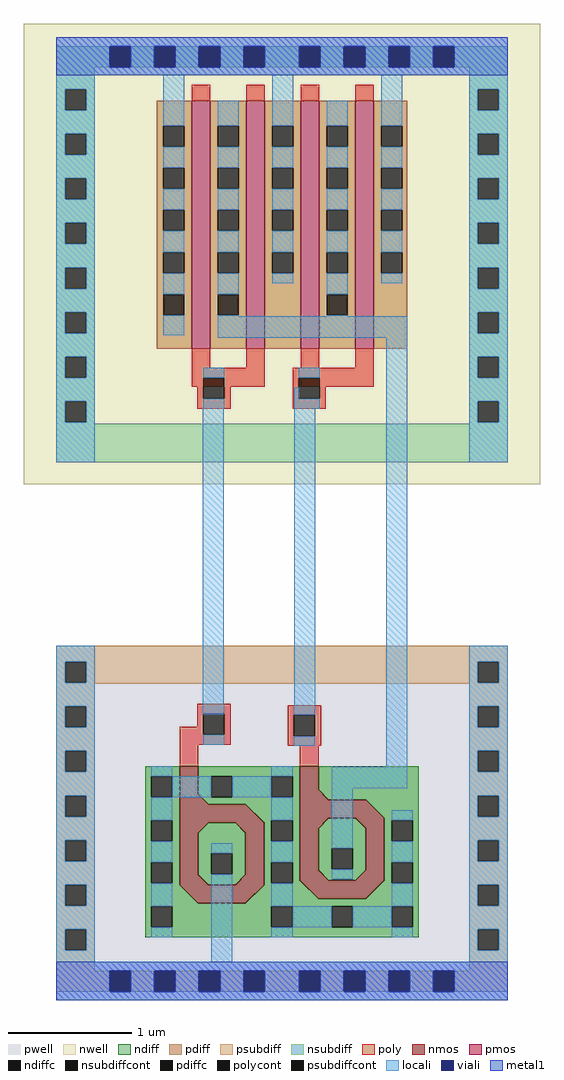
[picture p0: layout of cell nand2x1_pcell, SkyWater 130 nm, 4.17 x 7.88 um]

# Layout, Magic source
magic
tech sky130
magscale 1 2
<< nwell >>
rect 84 903 582 1575
rect 83 832 582 903
<< pwell >>
rect -31 0 697 572
<< pdiffc >>
rect 141 1105 175 1139
rect 229 1105 263 1139
rect 405 1105 439 1139
<< psubdiff >>
rect 31 510 635 572
rect 31 13 55 47
rect 89 13 127 47
rect 161 13 199 47
rect 233 13 271 47
rect 305 13 361 47
rect 395 13 433 47
rect 467 13 505 47
rect 539 13 577 47
rect 611 13 635 47
<< nsubdiff >>
rect 31 1505 55 1539
rect 89 1505 127 1539
rect 161 1505 199 1539
rect 233 1505 271 1539
rect 305 1505 361 1539
rect 395 1505 433 1539
rect 467 1505 505 1539
rect 539 1505 577 1539
rect 611 1505 635 1539
rect 31 868 635 930
<< psubdiffcont >>
rect 55 13 89 47
rect 127 13 161 47
rect 199 13 233 47
rect 271 13 305 47
rect 361 13 395 47
rect 433 13 467 47
rect 505 13 539 47
rect 577 13 611 47
<< nsubdiffcont >>
rect 55 1505 89 1539
rect 127 1505 161 1539
rect 199 1505 233 1539
rect 271 1505 305 1539
rect 361 1505 395 1539
rect 433 1505 467 1539
rect 505 1505 539 1539
rect 577 1505 611 1539
<< poly >>
rect 168 403 198 441
rect 362 410 392 411
<< locali >>
rect 31 1539 635 1554
rect 31 1505 55 1539
rect 89 1505 127 1539
rect 161 1505 199 1539
rect 233 1505 271 1539
rect 305 1505 361 1539
rect 395 1505 433 1539
rect 467 1505 505 1539
rect 539 1505 577 1539
rect 611 1505 635 1539
rect 31 1492 635 1505
rect 141 1139 175 1157
rect 141 1073 175 1105
rect 229 1139 263 1157
rect 229 1103 263 1105
rect 405 1139 439 1157
rect 405 1103 439 1105
rect 229 1069 535 1103
rect 353 954 361 988
rect 205 461 239 954
rect 353 469 387 954
rect 353 461 357 469
rect 501 376 535 1069
rect 413 342 535 376
rect 413 261 447 342
rect 219 62 253 195
rect 31 47 635 62
rect 31 13 55 47
rect 89 13 127 47
rect 161 13 199 47
rect 233 13 271 47
rect 305 13 361 47
rect 395 13 433 47
rect 467 13 505 47
rect 539 13 577 47
rect 611 13 635 47
rect 31 0 635 13
<< viali >>
rect 55 1505 89 1539
rect 127 1505 161 1539
rect 199 1505 233 1539
rect 271 1505 305 1539
rect 361 1505 395 1539
rect 433 1505 467 1539
rect 505 1505 539 1539
rect 577 1505 611 1539
rect 55 13 89 47
rect 127 13 161 47
rect 199 13 233 47
rect 271 13 305 47
rect 361 13 395 47
rect 433 13 467 47
rect 505 13 539 47
rect 577 13 611 47
<< metal1 >>
rect 31 1539 635 1554
rect 31 1505 55 1539
rect 89 1505 127 1539
rect 161 1505 199 1539
rect 233 1505 271 1539
rect 305 1505 361 1539
rect 395 1505 433 1539
rect 467 1505 505 1539
rect 539 1505 577 1539
rect 611 1505 635 1539
rect 31 1492 635 1505
rect 31 47 635 62
rect 31 13 55 47
rect 89 13 127 47
rect 161 13 199 47
rect 233 13 271 47
rect 305 13 361 47
rect 395 13 433 47
rect 467 13 505 47
rect 539 13 577 47
rect 611 13 635 47
rect 31 0 635 13
use diff_ring_side  diff_ring_side_1
transform 1 0 0 0 1 0
box -84 0 84 1575
use nmos_bottom  nmos_bottom_0
transform -1 0 360 0 1 101
box 0 0 248 302
use poly_li1_contact  poly_li1_contact_0
transform 0 1 223 -1 0 987
box -32 -28 34 26
use poly_li1_contact  poly_li1_contact_1
transform 0 1 223 -1 0 445
box -32 -28 34 26
use pmos2  pmos2_0
transform 1 0 43 0 1 1450
box 52 -461 352 42
use nmos_top_trim1  nmos_top_trim1_0
transform -1 0 554 0 1 101
box 0 0 248 309
use poly_li1_contact  poly_li1_contact_3
transform 0 1 377 -1 0 987
box -32 -28 34 26
use poly_li1_contact  poly_li1_contact_2
transform 0 -1 369 1 0 443
box -32 -28 34 26
use pmos2  pmos2_1
transform 1 0 219 0 1 1450
box 52 -461 352 42
use diff_ring_side  diff_ring_side_0
transform 1 0 666 0 1 0
box -84 0 84 1575
<< end >>

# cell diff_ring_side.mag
magic
tech sky130
magscale 1 2
<< nwell >>
rect -84 832 84 1575
<< pwell >>
rect -31 0 31 572
<< psubdiff >>
rect -31 546 31 572
rect -31 512 -17 546
rect 17 512 31 546
rect -31 474 31 512
rect -31 440 -17 474
rect 17 440 31 474
rect -31 402 31 440
rect -31 368 -17 402
rect 17 368 31 402
rect -31 330 31 368
rect -31 296 -17 330
rect 17 296 31 330
rect -31 258 31 296
rect -31 224 -17 258
rect 17 224 31 258
rect -31 186 31 224
rect -31 152 -17 186
rect 17 152 31 186
rect -31 114 31 152
rect -31 80 -17 114
rect 17 80 31 114
rect -31 13 31 80
<< nsubdiff >>
rect -31 1470 31 1539
rect -31 1436 -17 1470
rect 17 1436 31 1470
rect -31 1398 31 1436
rect -31 1364 -17 1398
rect 17 1364 31 1398
rect -31 1326 31 1364
rect -31 1292 -17 1326
rect 17 1292 31 1326
rect -31 1254 31 1292
rect -31 1220 -17 1254
rect 17 1220 31 1254
rect -31 1182 31 1220
rect -31 1148 -17 1182
rect 17 1148 31 1182
rect -31 1110 31 1148
rect -31 1076 -17 1110
rect 17 1076 31 1110
rect -31 1038 31 1076
rect -31 1004 -17 1038
rect 17 1004 31 1038
rect -31 966 31 1004
rect -31 932 -17 966
rect 17 932 31 966
rect -31 868 31 932
<< psubdiffcont >>
rect -17 512 17 546
rect -17 440 17 474
rect -17 368 17 402
rect -17 296 17 330
rect -17 224 17 258
rect -17 152 17 186
rect -17 80 17 114
<< nsubdiffcont >>
rect -17 1436 17 1470
rect -17 1364 17 1398
rect -17 1292 17 1326
rect -17 1220 17 1254
rect -17 1148 17 1182
rect -17 1076 17 1110
rect -17 1004 17 1038
rect -17 932 17 966
<< locali >>
rect -31 1470 31 1554
rect -31 1436 -17 1470
rect 17 1436 31 1470
rect -31 1398 31 1436
rect -31 1364 -17 1398
rect 17 1364 31 1398
rect -31 1326 31 1364
rect -31 1292 -17 1326
rect 17 1292 31 1326
rect -31 1254 31 1292
rect -31 1220 -17 1254
rect 17 1220 31 1254
rect -31 1182 31 1220
rect -31 1148 -17 1182
rect 17 1148 31 1182
rect -31 1110 31 1148
rect -31 1076 -17 1110
rect 17 1076 31 1110
rect -31 1038 31 1076
rect -31 1004 -17 1038
rect 17 1004 31 1038
rect -31 966 31 1004
rect -31 932 -17 966
rect 17 932 31 966
rect -31 868 31 932
rect -31 546 31 572
rect -31 512 -17 546
rect 17 512 31 546
rect -31 474 31 512
rect -31 440 -17 474
rect 17 440 31 474
rect -31 402 31 440
rect -31 368 -17 402
rect 17 368 31 402
rect -31 330 31 368
rect -31 296 -17 330
rect 17 296 31 330
rect -31 258 31 296
rect -31 224 -17 258
rect 17 224 31 258
rect -31 186 31 224
rect -31 152 -17 186
rect 17 152 31 186
rect -31 114 31 152
rect -31 80 -17 114
rect 17 80 31 114
rect -31 0 31 80
<< metal1 >>
rect -31 1492 31 1554
rect -31 0 31 62
<< end >>

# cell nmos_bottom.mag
magic
tech sky130A
magscale 1 2
<< nmos >>
tri 146 215 162 231 se
rect 162 215 192 276
tri 56 185 86 215 se
rect 86 185 192 215
rect 56 85 86 185
tri 86 169 102 185 nw
tri 146 169 162 185 ne
tri 86 85 102 101 sw
tri 146 85 162 101 se
rect 162 85 192 185
tri 56 55 86 85 ne
rect 86 55 162 85
tri 162 55 192 85 nw
<< ndiff >>
rect 0 260 162 276
rect 0 226 10 260
rect 44 226 107 260
rect 141 231 162 260
rect 141 226 146 231
rect 0 215 146 226
tri 146 215 162 231 nw
rect 192 260 248 276
rect 192 226 204 260
rect 238 226 248 260
rect 0 189 56 215
rect 0 155 10 189
rect 44 155 56 189
tri 56 185 86 215 nw
rect 192 189 248 226
rect 0 121 56 155
rect 0 87 10 121
rect 44 87 56 121
rect 0 55 56 87
tri 86 169 102 185 se
rect 102 169 146 185
tri 146 169 162 185 sw
rect 86 136 162 169
rect 86 102 107 136
rect 141 102 162 136
rect 86 101 162 102
tri 86 85 102 101 ne
rect 102 85 146 101
tri 146 85 162 101 nw
rect 192 155 204 189
rect 238 155 248 189
rect 192 121 248 155
rect 192 87 204 121
rect 238 87 248 121
tri 56 55 86 85 sw
tri 162 55 192 85 se
rect 192 55 248 87
rect 0 50 248 55
rect 0 16 10 50
rect 44 16 204 50
rect 238 16 248 50
rect 0 0 248 16
<< ndiffc >>
rect 10 226 44 260
rect 107 226 141 260
rect 204 226 238 260
rect 10 155 44 189
rect 10 87 44 121
rect 107 102 141 136
rect 204 155 238 189
rect 204 87 238 121
rect 10 16 44 50
rect 204 16 238 50
<< poly >>
rect 162 276 192 302
<< locali >>
rect 10 260 44 276
rect 204 260 238 276
rect 44 226 107 260
rect 141 226 204 260
rect 10 189 44 226
rect 10 121 44 155
rect 204 189 238 226
rect 10 50 44 87
rect 107 136 141 152
rect 107 86 141 102
rect 204 121 238 155
rect 10 0 44 16
rect 204 50 238 87
rect 204 0 238 16
<< end >>

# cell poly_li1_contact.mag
magic
tech sky130A
magscale 1 2
<< poly >>
rect -33 17 33 27
rect -33 -17 -17 17
rect 17 -17 33 17
rect -33 -27 33 -17
<< polycont >>
rect -17 -17 17 17
<< locali >>
rect -33 -17 -17 17
rect 17 -17 33 17
<< end >>

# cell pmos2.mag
magic
tech sky130A
magscale 1 2
<< nwell >>
rect 52 -435 352 37
<< pmos >>
rect 144 -399 174 1
rect 232 -399 262 1
<< pdiff >>
rect 88 -39 144 1
rect 88 -73 98 -39
rect 132 -73 144 -39
rect 88 -107 144 -73
rect 88 -141 98 -107
rect 132 -141 144 -107
rect 88 -175 144 -141
rect 88 -209 98 -175
rect 132 -209 144 -175
rect 88 -243 144 -209
rect 88 -277 98 -243
rect 132 -277 144 -243
rect 88 -399 144 -277
rect 174 -39 232 1
rect 174 -73 186 -39
rect 220 -73 232 -39
rect 174 -107 232 -73
rect 174 -141 186 -107
rect 220 -141 232 -107
rect 174 -175 232 -141
rect 174 -209 186 -175
rect 220 -209 232 -175
rect 174 -243 232 -209
rect 174 -277 186 -243
rect 220 -277 232 -243
rect 174 -399 232 -277
rect 262 -39 316 1
rect 262 -73 274 -39
rect 308 -73 316 -39
rect 262 -107 316 -73
rect 262 -141 274 -107
rect 308 -141 316 -107
rect 262 -175 316 -141
rect 262 -209 274 -175
rect 308 -209 316 -175
rect 262 -243 316 -209
rect 262 -277 274 -243
rect 308 -277 316 -243
rect 262 -399 316 -277
<< pdiffc >>
rect 98 -73 132 -39
rect 98 -141 132 -107
rect 98 -209 132 -175
rect 98 -277 132 -243
rect 186 -73 220 -39
rect 186 -141 220 -107
rect 186 -209 220 -175
rect 186 -277 220 -243
rect 274 -73 308 -39
rect 274 -141 308 -107
rect 274 -209 308 -175
rect 274 -277 308 -243
<< poly >>
rect 144 1 174 27
rect 232 1 262 27
rect 144 -430 174 -399
rect 232 -430 262 -399
rect 144 -460 262 -430
<< locali >>
rect 98 -39 132 42
rect 98 -107 132 -73
rect 98 -175 132 -141
rect 98 -243 132 -209
rect 98 -293 132 -277
rect 186 -39 220 1
rect 186 -107 220 -73
rect 186 -175 220 -141
rect 186 -243 220 -209
rect 186 -293 220 -277
rect 274 -39 308 42
rect 274 -107 308 -73
rect 274 -175 308 -141
rect 274 -243 308 -209
rect 274 -293 308 -277
<< end >>

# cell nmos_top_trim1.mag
magic
tech sky130A
magscale 1 2
<< nmos >>
tri 146 222 162 238 se
rect 162 222 192 276
tri 56 192 86 222 se
rect 86 192 192 222
rect 56 92 86 192
tri 86 176 102 192 nw
tri 146 176 162 192 ne
tri 86 92 102 108 sw
tri 146 92 162 108 se
rect 162 92 192 192
tri 56 62 86 92 ne
rect 86 62 162 92
tri 162 62 192 92 nw
<< ndiff >>
rect 0 238 162 276
rect 0 222 146 238
tri 146 222 162 238 nw
rect 192 260 248 276
rect 192 226 204 260
rect 238 226 248 260
rect 0 189 56 222
tri 56 192 86 222 nw
rect 0 155 10 189
rect 44 155 56 189
rect 0 121 56 155
rect 0 87 10 121
rect 44 87 56 121
tri 86 176 102 192 se
rect 102 176 146 192
tri 146 176 162 192 sw
rect 86 144 162 176
rect 86 110 107 144
rect 141 110 162 144
rect 86 108 162 110
tri 86 92 102 108 ne
rect 102 92 146 108
tri 146 92 162 108 nw
rect 192 189 248 226
rect 192 155 204 189
rect 238 155 248 189
rect 192 121 248 155
rect 0 62 56 87
tri 56 62 86 92 sw
tri 162 62 192 92 se
rect 192 87 204 121
rect 238 87 248 121
rect 192 62 248 87
rect 0 50 248 62
rect 0 16 10 50
rect 44 16 107 50
rect 141 16 204 50
rect 238 16 248 50
rect 0 0 248 16
<< ndiffc >>
rect 204 226 238 260
rect 10 155 44 189
rect 10 87 44 121
rect 107 110 141 144
rect 204 155 238 189
rect 204 87 238 121
rect 10 16 44 50
rect 107 16 141 50
rect 204 16 238 50
<< poly >>
rect 162 276 192 309
<< locali >>
rect 204 260 238 276
rect 10 189 44 205
rect 204 189 238 226
rect 10 121 44 155
rect 107 144 141 160
rect 107 94 141 110
rect 204 121 238 155
rect 10 50 44 87
rect 204 50 238 87
rect 44 16 107 50
rect 141 16 204 50
rect 10 0 44 16
rect 204 0 238 16
<< end >>
